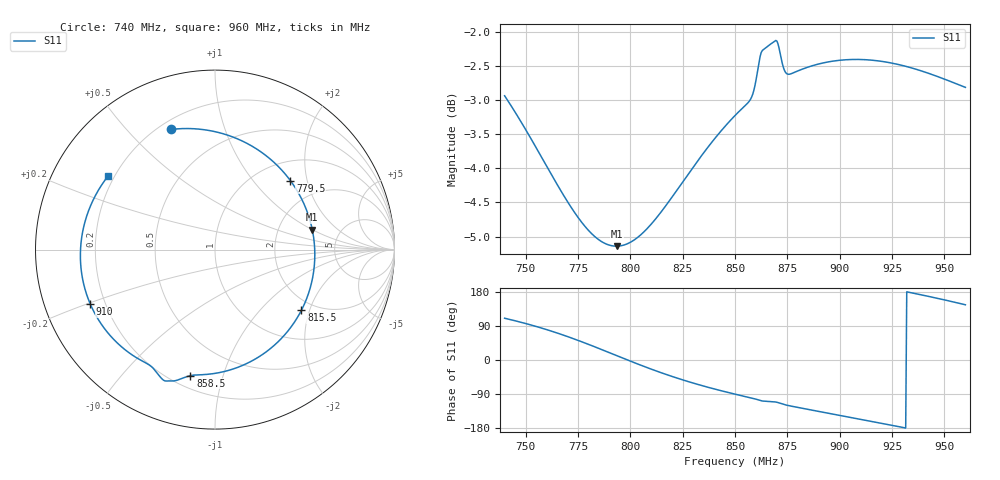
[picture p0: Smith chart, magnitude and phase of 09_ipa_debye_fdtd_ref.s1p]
! ISAC_868 Rev E.5 3D-FDTD Reference S11 at /BR_Q (9_IPA_on_0p80mm_Window (eps*=6.29-j6.09))
! Reference plane: /BR_Q (includes C_M1=3.6p, L_M1=8.2n||C_MZ=0.5p, C_M2=4.3p elliptic Pi-filter)
! Unloaded AE1 f0 = 794.0 MHz | Standalone |S11(866.5)| = -1.63 dB | Cascaded |S11(866.5)| = -2.19 dB
# GHz S RI R 50.0
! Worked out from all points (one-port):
!   442 points, 740 MHz to 960 MHz, reference 50 ohm
!   lowest |S11| = -5.1 dB at 793.5 MHz (marker M1), VSWR 3.48, Z = 156 + j49.9 ohm
!   |S11| at or under -10 dB: nowhere
!   S11 on the Smith chart (normalised r, x): 740 MHz: 0.25, +0.67; 779.5 MHz: 1.40, +1.59; 815.5 MHz: 1.71, -1.76; 858.5 MHz: 0.27, -0.79; 910 MHz: 0.14, -0.21; 960 MHz: 0.18, +0.30
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0.74  -0.2466 0.6692
0.7475  -0.1189 0.6734
0.7545  0.00674 0.6556
0.761  0.1248 0.6171
0.7675  0.239 0.556
0.7795  0.4201 0.3844
0.7865  0.4957 0.2546
0.7935  0.542 0.1108
0.795  0.5478 0.079
0.805  0.548 -0.1334
0.8155  0.4817 -0.3377
0.8225  0.407 -0.4527
0.8295  0.315 -0.5462
0.836  0.2192 -0.6126
0.843  0.1101 -0.662
0.85  -0.00085 -0.6898
0.8585  -0.1368 -0.7021
0.8631  -0.2411 -0.7313
0.869  -0.2757 -0.7318
0.874  -0.3521 -0.6536
0.8775  -0.3977 -0.6252
0.8915  -0.5532 -0.5116
0.905  -0.6643 -0.3654
0.91  -0.6947 -0.3039
0.9215  -0.7402 -0.1501
0.9325  -0.7488 0.00846
0.946  -0.7072 0.209
0.96  -0.5978 0.4073
